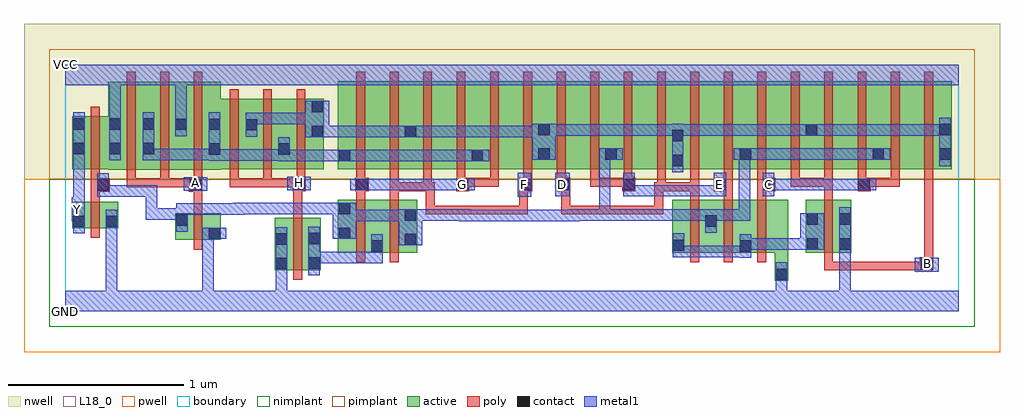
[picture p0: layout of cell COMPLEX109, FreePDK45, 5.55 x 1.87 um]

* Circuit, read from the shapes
.subckt COMPLEX109 A B C D E F G GND H VCC Y
M1 GND n1 Y VSUBS nfet w=0.15u l=0.05u
M2 GND A n1 VSUBS nfet w=0.15u l=0.05u
M3 n2 H GND VSUBS nfet w=0.3u l=0.05u
M4 n2 G n1 VSUBS nfet w=0.3u l=0.05u
M5 n1 F n2 VSUBS nfet w=0.3u l=0.05u
M6 n1 D n3 VSUBS nfet w=0.3u l=0.05u
M7 n3 E n1 VSUBS nfet w=0.3u l=0.05u
M8 GND C n3 VSUBS nfet w=0.3u l=0.05u
M9 GND B n3 VSUBS nfet w=0.3u l=0.05u
M10 VCC n1 Y n4 pfet w=0.3u l=0.05u
M11 n5 A VCC n4 pfet w=0.5u l=0.05u m=3
M12 n6 H n5 n4 pfet w=0.4u l=0.05u m=3
M13 n7 G n5 n4 pfet w=0.5u l=0.05u
M14 n6 F n7 n4 pfet w=0.5u l=0.05u
M15 n8 F n6 n4 pfet w=0.5u l=0.05u
M16 n5 G n8 n4 pfet w=0.5u l=0.05u
M17 n9 G n5 n4 pfet w=0.5u l=0.05u
M18 n6 F n9 n4 pfet w=0.5u l=0.05u
M19 n10 D n6 n4 pfet w=0.5u l=0.05u
M20 n1 E n10 n4 pfet w=0.5u l=0.05u
M21 n11 E n1 n4 pfet w=0.5u l=0.05u
M22 n6 D n11 n4 pfet w=0.5u l=0.05u
M23 n12 D n6 n4 pfet w=0.5u l=0.05u
M24 n1 E n12 n4 pfet w=0.5u l=0.05u
M25 n13 C n1 n4 pfet w=0.5u l=0.05u
M26 n6 B n13 n4 pfet w=0.5u l=0.05u
M27 n14 B n6 n4 pfet w=0.5u l=0.05u
M28 n1 C n14 n4 pfet w=0.5u l=0.05u
M29 n15 C n1 n4 pfet w=0.5u l=0.05u
M30 n6 B n15 n4 pfet w=0.5u l=0.05u
.ends

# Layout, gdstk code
import gdstk
lib = gdstk.Library(unit=1e-6, precision=1e-09)
def R(c, l, rs):  # rectangles x0, y0, x1, y1
    for r in rs: c.add(gdstk.rectangle(r[:2], r[2:], *l))
def A(c, l, x, y, w, h, nx, ny, dx, dy):  # array of equal rectangles
    R(c, l, [(x+i*dx, y+j*dy, x+i*dx+w, y+j*dy+h) for i in range(nx) for j in range(ny)])
active = (1, 0)
pwell = (2, 0)
nwell = (3, 0)
nimplant = (4, 0)
pimplant = (5, 0)
poly = (9, 0)
contact = (10, 0)
metal1 = (11, 0)
L18_0 = (18, 0)
boundary = (235, 0)

complex109 = lib.new_cell('COMPLEX109')
A(complex109, active, 1.775, 0.807, 0.225, 0.5, 5, 1, 0.38, 0)
A(complex109, active, 1.925, 0.807, 0.075, 0.393, 5, 1, 0.76, 0)
A(complex109, active, 1.925, 0.807, 0.23, 0.5, 5, 1, 0.38, 0)
A(complex109, active, 4.055, 0.807, 0.225, 0.5, 3, 1, 0.38, 0)
R(complex109, active, [(4.035,0.172,4.11,0.497), (1.192,0.232,1.267,0.532), (1.192,0.232,1.452,0.532), (1.377,0.232,1.452,0.45), (1.55,0.332,1.625,0.632), (1.55,0.332,1.81,0.632), (1.735,0.332,1.81,0.497), (1.735,0.332,2,0.632), (1.925,0.332,2,0.632), (3.45,0.332,3.525,0.632), (3.45,0.332,3.71,0.632), (3.635,0.332,3.905,0.632), (3.635,0.332,3.71,0.55), (3.83,0.332,4.11,0.632), (3.83,0.332,3.905,0.497), (4.21,0.332,4.285,0.632), (4.21,0.332,4.47,0.632), (4.395,0.332,4.47,0.632), (0.625,0.405,0.7,0.555), (0.625,0.405,0.885,0.555), (0.81,0.405,0.885,0.555), (0.04,0.472,0.115,0.622), (0.04,0.472,0.3,0.622), (0.225,0.472,0.3,0.622), (0.245,0.805,0.51,1.305), (0.435,0.805,0.695,1.305), (0.435,0.805,0.51,1.2), (0.62,0.805,0.885,1.305), (0.62,0.805,0.695,1.305), (0.04,0.807,0.115,1.107), (0.04,0.807,0.32,1.107), (0.245,0.807,0.32,1.305), (0.81,0.807,0.885,1.2), (0.81,0.807,1.095,1.207), (1.02,0.807,1.095,1.2), (1.02,0.807,1.28,1.207), (1.205,0.807,1.28,1.07), (1.205,0.807,1.47,1.207), (1.395,0.807,1.47,1.2), (1.55,0.807,1.775,1.307), (1.55,0.807,1.655,1.07), (2.305,0.807,2.38,1.07), (3.065,0.807,3.14,1.07), (3.675,0.807,3.905,1.307), (3.83,0.807,4.055,1.307), (3.83,0.807,3.905,1.07), (4.205,0.807,4.435,1.307), (4.585,0.807,4.815,1.307), (4.585,0.807,4.66,1.07)])
R(complex109, pwell, [(-0.235,-0.235,5.315,0.75)])
R(complex109, nwell, [(-0.235,0.75,5.315,1.635)])
R(complex109, nimplant, [(-0.09,-0.09,5.17,0.75)])
R(complex109, pimplant, [(-0.09,0.75,5.17,1.49)])
A(complex109, poly, 3.555, 0.277, 0.05, 0.41, 3, 1, 0.19, 0)
A(complex109, poly, 3.555, 0.637, 0.05, 0.095, 3, 1, 0.19, 0)
A(complex109, poly, 0.35, 0.705, 0.05, 0.095, 3, 1, 0.19, 0)
A(complex109, poly, 2.225, 0.707, 0.05, 0.095, 6, 1, 0.19, 0)
A(complex109, poly, 3.745, 0.707, 0.05, 0.095, 6, 1, 0.19, 0)
A(complex109, poly, 0.35, 0.75, 0.05, 0.61, 3, 1, 0.19, 0)
A(complex109, poly, 0.935, 0.752, 0.05, 0.51, 3, 1, 0.19, 0)
A(complex109, poly, 1.655, 0.752, 0.05, 0.61, 18, 1, 0.19, 0)
R(complex109, poly, [(1.297,0.177,1.347,0.587), (4.315,0.232,4.365,0.282), (4.315,0.232,4.365,0.327), (4.315,0.232,4.577,0.282), (4.527,0.232,4.577,0.282), (4.527,0.232,4.577,0.282), (4.527,0.232,4.577,0.282), (4.527,0.232,4.577,0.282), (4.527,0.232,4.577,0.282), (4.527,0.232,4.577,0.282), (4.527,0.232,4.577,0.282), (4.527,0.232,4.777,0.282), (4.727,0.232,4.777,0.282), (4.727,0.232,4.777,0.282), (4.727,0.232,4.777,0.282), (4.727,0.232,4.91,0.282), (4.86,0.232,4.91,0.282), (4.86,0.232,4.91,0.282), (4.86,0.232,4.91,0.282), (4.86,0.232,4.91,0.282), (4.86,0.232,4.91,0.282), (4.86,0.232,4.91,0.282), (4.86,0.232,4.935,0.307), (4.885,0.257,4.935,0.802), (1.655,0.277,1.705,0.687), (1.845,0.277,1.895,0.687), (4.315,0.277,4.365,0.687), (0.73,0.35,0.78,0.61), (0.145,0.417,0.195,0.677), (1.297,0.537,1.347,0.732), (2.05,0.55,2.1,0.6), (2.05,0.55,2.1,0.6), (2.05,0.55,2.1,0.6), (2.05,0.55,2.1,0.732), (2.05,0.55,2.232,0.6), (2.182,0.55,2.232,0.6), (2.182,0.55,2.497,0.6), (2.447,0.55,2.497,0.6), (2.447,0.55,2.497,0.6), (2.447,0.55,2.497,0.6), (2.447,0.55,2.63,0.6), (2.58,0.55,2.63,0.6), (2.58,0.55,2.63,0.6), (2.58,0.55,2.63,0.6), (2.58,0.55,2.63,0.732), (2.82,0.55,2.87,0.6), (2.82,0.55,2.87,0.6), (2.82,0.55,2.87,0.6), (2.82,0.55,2.87,0.6), (2.82,0.55,2.87,0.6), (2.82,0.55,2.87,0.732), (2.82,0.55,3.002,0.6), (2.952,0.55,3.002,0.6), (2.952,0.55,3.002,0.6), (2.952,0.55,3.002,0.6), (2.952,0.55,3.167,0.6), (3.117,0.55,3.167,0.6), (3.117,0.55,3.167,0.6), (3.117,0.55,3.167,0.6), (3.117,0.55,3.4,0.6), (3.35,0.55,3.4,0.6), (3.35,0.55,3.4,0.732), (0.73,0.56,0.78,0.73), (0.145,0.627,0.195,0.73), (1.655,0.637,1.705,0.732), (1.845,0.637,1.895,0.732), (4.315,0.637,4.365,0.757), (0.145,0.68,0.252,0.755), (0.702,0.68,0.78,0.755), (1.292,0.682,1.367,0.757), (1.65,0.682,1.725,0.757), (1.845,0.682,1.895,0.732), (1.845,0.682,1.895,0.732), (1.845,0.682,1.895,0.732), (1.845,0.682,1.895,0.802), (1.845,0.682,2.085,0.732), (2.035,0.682,2.085,0.802), (2.035,0.682,2.1,0.732), (2.05,0.682,2.1,0.732), (2.05,0.682,2.1,0.732), (2.222,0.682,2.297,0.757), (2.58,0.682,2.63,0.732), (2.58,0.682,2.63,0.732), (2.58,0.682,2.655,0.757), (2.795,0.682,2.87,0.757), (3.167,0.682,3.242,0.757), (3.35,0.682,3.4,0.732), (3.35,0.682,3.4,0.732), (3.35,0.682,3.415,0.732), (3.365,0.682,3.415,0.802), (3.365,0.682,3.605,0.732), (3.555,0.682,3.605,0.732), (3.555,0.682,3.605,0.732), (3.555,0.682,3.605,0.732), (3.555,0.682,3.605,0.802), (3.687,0.682,3.795,0.757), (3.935,0.682,4.037,0.757), (4.505,0.682,4.58,0.757), (0.145,0.705,0.195,0.802), (0.35,0.705,0.4,0.755), (0.35,0.705,0.4,0.755), (0.35,0.705,0.4,0.755), (0.35,0.705,0.59,0.755), (0.54,0.705,0.59,0.755), (0.54,0.705,0.59,0.755), (0.54,0.705,0.59,0.755), (0.54,0.705,0.752,0.755), (0.935,0.705,0.985,0.755), (0.935,0.705,0.985,0.755), (0.935,0.705,0.985,0.755), (0.935,0.705,1.175,0.755), (0.935,0.705,0.985,0.802), (1.125,0.705,1.175,0.755), (1.125,0.705,1.175,0.755), (1.125,0.705,1.175,0.755), (1.125,0.705,1.342,0.755), (1.125,0.705,1.175,0.802), (1.315,0.707,1.365,0.802), (1.655,0.707,1.705,0.802), (2.247,0.707,2.465,0.757), (2.415,0.707,2.465,0.757), (2.415,0.707,2.465,0.757), (2.415,0.707,2.465,0.757), (2.985,0.707,3.035,0.757), (2.985,0.707,3.035,0.757), (2.985,0.707,3.035,0.757), (2.985,0.707,3.217,0.757), (4.125,0.707,4.175,0.757), (4.125,0.707,4.365,0.757), (4.315,0.707,4.365,0.757), (4.315,0.707,4.365,0.757), (4.315,0.707,4.365,0.757), (4.53,0.707,4.745,0.757), (4.695,0.707,4.745,0.757), (4.695,0.707,4.745,0.757), (4.695,0.707,4.745,0.757), (0.145,0.752,0.195,1.162)])
R(complex109, contact, [(4.04,0.177,4.105,0.242), (1.197,0.237,1.262,0.302), (4.865,0.237,4.93,0.302), (1.382,0.24,1.447,0.305), (1.74,0.337,1.805,0.402), (3.835,0.337,3.9,0.402), (3.455,0.342,3.52,0.407), (4.215,0.35,4.28,0.415), (4.4,0.35,4.465,0.415), (1.93,0.375,1.995,0.44), (1.197,0.377,1.262,0.442), (1.382,0.38,1.447,0.445), (0.815,0.41,0.88,0.475), (1.555,0.41,1.62,0.475), (0.045,0.477,0.11,0.542), (0.23,0.477,0.295,0.542), (3.64,0.48,3.705,0.545), (0.63,0.485,0.695,0.55), (4.215,0.49,4.28,0.555), (4.4,0.49,4.465,0.555), (1.93,0.515,1.995,0.58), (1.555,0.55,1.62,0.615), (0.182,0.685,0.247,0.75), (0.707,0.685,0.772,0.75), (1.297,0.687,1.362,0.752), (1.655,0.687,1.72,0.752), (2.227,0.687,2.292,0.752), (2.585,0.687,2.65,0.752), (2.8,0.687,2.865,0.752), (3.172,0.687,3.237,0.752), (3.692,0.687,3.757,0.752), (3.967,0.687,4.032,0.752), (4.51,0.687,4.575,0.752), (3.45,0.825,3.515,0.89), (1.555,0.852,1.62,0.917), (2.31,0.852,2.375,0.917), (2.69,0.86,2.755,0.925), (3.07,0.86,3.135,0.925), (3.835,0.86,3.9,0.925), (4.59,0.86,4.655,0.925), (4.97,0.86,5.035,0.925), (0.815,0.89,0.88,0.955), (1.21,0.89,1.275,0.955), (0.045,0.892,0.11,0.957), (0.25,0.892,0.315,0.957), (0.44,0.892,0.505,0.957), (3.45,0.965,3.515,1.03), (1.4,0.99,1.465,1.055), (1.93,0.99,1.995,1.055), (4.21,0.997,4.275,1.062), (2.69,1,2.755,1.065), (4.97,1,5.035,1.065), (1.025,1.027,1.09,1.092), (0.625,1.03,0.69,1.095), (0.815,1.03,0.88,1.095), (0.045,1.032,0.11,1.097), (0.25,1.032,0.315,1.097), (0.44,1.032,0.505,1.097), (1.4,1.13,1.465,1.195)])
A(complex109, metal1, 3.662, 0.307, 0.065, 0.065, 1, 3, 0, 0.345)
R(complex109, metal1, [(0,0,5.08,0.115), (0.23,0.05,0.295,0.507), (0.78,0.05,0.845,0.115), (0.78,0.05,0.845,0.115), (0.78,0.05,0.845,0.115), (0.78,0.05,0.845,0.115), (0.78,0.05,0.845,0.475), (1.197,0.05,1.262,0.115), (1.197,0.05,1.262,0.115), (1.197,0.05,1.262,0.115), (1.197,0.05,1.262,0.267), (4.04,0.05,4.105,0.115), (4.04,0.05,4.105,0.115), (4.04,0.05,4.105,0.115), (4.04,0.05,4.105,0.115), (4.04,0.05,4.105,0.207), (4.4,0.05,4.465,0.115), (4.4,0.05,4.465,0.115), (4.4,0.05,4.465,0.38), (4.04,0.142,4.105,0.277), (1.197,0.202,1.262,0.267), (1.197,0.202,1.262,0.477), (1.382,0.205,1.447,0.48), (4.83,0.225,4.967,0.302), (1.382,0.272,1.447,0.337), (1.382,0.272,1.447,0.337), (1.382,0.272,1.755,0.337), (1.69,0.272,1.755,0.337), (1.69,0.272,1.805,0.337), (1.74,0.272,1.805,0.437), (3.835,0.302,3.9,0.437), (3.455,0.307,3.52,0.372), (3.455,0.307,3.52,0.372), (3.455,0.307,3.52,0.442), (3.455,0.307,3.727,0.372), (3.662,0.307,3.727,0.372), (3.662,0.307,3.727,0.372), (3.662,0.307,3.9,0.372), (4.4,0.315,4.465,0.38), (4.4,0.315,4.465,0.38), (4.4,0.315,4.465,0.59), (3.835,0.35,3.967,0.415), (3.902,0.35,3.967,0.415), (3.902,0.35,4.072,0.415), (4.007,0.35,4.072,0.415), (4.007,0.35,4.245,0.415), (4.18,0.35,4.245,0.415), (4.18,0.35,4.245,0.415), (4.18,0.35,4.315,0.555), (1.895,0.375,2.03,0.58), (0.78,0.41,0.845,0.475), (0.78,0.41,0.845,0.475), (0.78,0.41,0.915,0.475), (1.52,0.41,1.655,0.615), (0.045,0.442,0.11,0.577), (0.23,0.442,0.295,0.507), (0.23,0.442,0.295,0.507), (0.23,0.442,0.295,0.507), (0.23,0.442,0.295,0.507), (0.23,0.442,0.295,0.507), (0.23,0.442,0.295,0.507), (0.23,0.442,0.295,0.577), (3.64,0.445,3.705,0.58), (0.63,0.45,0.695,0.585), (1.59,0.51,1.755,0.575), (1.69,0.51,1.755,0.575), (1.69,0.51,1.815,0.575), (1.75,0.51,1.815,0.575), (1.75,0.51,1.892,0.575), (1.827,0.51,1.892,0.575), (1.827,0.51,1.96,0.575), (0.037,0.512,0.11,0.647), (0.045,0.512,0.11,0.577), (2.24,0.512,2.582,0.577), (2.24,0.512,2.305,0.58), (2.517,0.512,2.582,0.577), (2.517,0.512,2.582,0.577), (2.517,0.512,2.582,0.577), (2.517,0.512,2.752,0.577), (2.687,0.512,2.752,0.577), (2.687,0.512,2.752,0.577), (2.687,0.512,2.752,0.577), (2.687,0.512,2.927,0.577), (2.862,0.512,2.927,0.58), (1.965,0.515,2.03,0.58), (1.965,0.515,2.03,0.58), (1.965,0.515,2.167,0.58), (2.102,0.515,2.167,0.58), (2.102,0.515,2.167,0.58), (2.102,0.515,2.167,0.58), (2.102,0.515,2.305,0.58), (2.24,0.515,2.305,0.58), (2.24,0.515,2.305,0.58), (2.862,0.515,2.927,0.58), (2.862,0.515,2.927,0.58), (2.862,0.515,3.1,0.58), (3.035,0.515,3.1,0.58), (3.035,0.515,3.1,0.58), (3.035,0.515,3.1,0.58), (3.035,0.515,3.1,0.58), (3.035,0.515,3.1,0.58), (3.035,0.515,3.1,0.925), (3.035,0.515,3.377,0.58), (3.312,0.515,3.377,0.58), (3.312,0.515,3.377,0.58), (3.312,0.515,3.377,0.58), (3.312,0.515,3.515,0.58), (3.45,0.515,3.515,0.58), (3.45,0.515,3.515,0.58), (3.45,0.515,3.515,0.58), (3.45,0.515,3.705,0.58), (3.64,0.515,3.705,0.58), (3.64,0.515,3.705,0.58), (3.64,0.515,3.895,0.58), (3.83,0.515,3.895,0.58), (3.83,0.515,3.895,0.58), (3.83,0.515,3.895,0.58), (3.83,0.515,3.895,0.925), (0.457,0.52,0.522,0.585), (0.457,0.52,0.522,0.585), (0.457,0.52,0.522,0.585), (0.457,0.52,0.695,0.585), (0.457,0.52,0.522,0.715), (0.63,0.52,0.695,0.585), (0.63,0.52,0.695,0.612), (0.63,0.547,0.832,0.612), (0.767,0.547,0.832,0.612), (0.767,0.547,0.832,0.612), (0.767,0.547,0.832,0.612), (0.767,0.547,1.017,0.612), (0.952,0.547,1.017,0.612), (0.952,0.547,1.017,0.612), (0.952,0.547,1.017,0.615), (0.952,0.55,1.227,0.615), (1.162,0.55,1.227,0.615), (1.162,0.55,1.227,0.615), (1.162,0.55,1.227,0.615), (1.162,0.55,1.497,0.615), (1.432,0.55,1.497,0.615), (1.432,0.55,1.585,0.615), (0.045,0.582,0.11,0.922), (0.182,0.65,0.247,0.715), (0.182,0.65,0.247,0.715), (0.182,0.65,0.385,0.715), (0.182,0.65,0.247,0.785), (0.32,0.65,0.385,0.715), (0.32,0.65,0.522,0.715), (0.457,0.65,0.522,0.715), (2.572,0.65,2.65,0.787), (2.787,0.652,2.867,0.787), (3.172,0.652,3.237,0.717), (3.172,0.652,3.237,0.717), (3.172,0.652,3.237,0.787), (3.172,0.652,3.377,0.717), (3.312,0.652,3.377,0.717), (3.312,0.652,3.567,0.717), (3.502,0.652,3.567,0.717), (3.502,0.652,3.567,0.717), (3.502,0.652,3.567,0.717), (3.502,0.652,3.727,0.717), (3.662,0.652,3.752,0.717), (3.687,0.652,3.757,0.787), (3.967,0.652,4.032,0.787), (0.672,0.685,0.807,0.762), (1.262,0.687,1.397,0.765), (1.62,0.687,1.755,0.752), (1.69,0.687,1.822,0.752), (1.757,0.687,1.822,0.752), (1.757,0.687,1.892,0.752), (1.827,0.687,1.892,0.752), (1.827,0.687,2.03,0.752), (1.965,0.687,2.03,0.752), (1.965,0.687,2.03,0.752), (1.965,0.687,2.03,0.752), (1.965,0.687,2.167,0.752), (2.102,0.687,2.167,0.752), (2.102,0.687,2.257,0.752), (2.192,0.687,2.327,0.752), (3.967,0.687,4.072,0.752), (4.007,0.687,4.072,0.752), (4.007,0.687,4.265,0.752), (4.2,0.687,4.265,0.752), (4.2,0.687,4.265,0.752), (4.2,0.687,4.265,0.752), (4.2,0.687,4.402,0.752), (4.337,0.687,4.402,0.752), (4.337,0.687,4.447,0.752), (4.382,0.687,4.447,0.752), (4.382,0.687,4.54,0.752), (4.475,0.687,4.61,0.752), (3.45,0.79,3.515,1.065), (4.97,0.825,5.035,1.1), (1.21,0.852,1.275,0.92), (1.21,0.852,1.43,0.917), (1.365,0.852,1.43,0.917), (1.365,0.852,1.585,0.917), (1.52,0.852,1.655,0.917), (1.59,0.852,1.655,0.917), (1.59,0.852,1.655,0.917), (1.59,0.852,1.815,0.917), (1.75,0.852,1.815,0.917), (1.75,0.852,1.892,0.917), (1.827,0.852,1.892,0.917), (1.827,0.852,2.03,0.917), (1.965,0.852,2.03,0.917), (1.965,0.852,2.03,0.917), (1.965,0.852,2.03,0.917), (1.965,0.852,2.167,0.917), (2.102,0.852,2.167,0.917), (2.102,0.852,2.167,0.917), (2.102,0.852,2.167,0.917), (2.102,0.852,2.34,0.917), (2.275,0.852,2.41,0.917), (0.815,0.855,0.88,0.92), (0.815,0.855,0.88,0.92), (0.815,0.855,0.88,1.13), (0.815,0.855,1.09,0.92), (1.025,0.855,1.09,0.92), (1.025,0.855,1.09,0.92), (1.025,0.855,1.09,0.92), (1.025,0.855,1.275,0.92), (1.21,0.855,1.275,0.92), (1.21,0.855,1.275,0.99), (0.045,0.857,0.11,1.132), (0.25,0.857,0.315,1.132), (0.44,0.857,0.505,1.132), (0.44,0.857,0.522,0.922), (0.457,0.857,0.522,0.922), (0.457,0.857,0.695,0.922), (0.63,0.857,0.695,0.922), (0.63,0.857,0.695,0.922), (0.63,0.857,0.695,0.922), (0.63,0.857,0.88,0.922), (2.655,0.86,2.79,1.065), (3.035,0.86,3.17,0.925), (3.8,0.86,3.935,0.925), (3.87,0.86,4.102,0.925), (4.037,0.86,4.102,0.925), (4.037,0.86,4.102,0.925), (4.037,0.86,4.102,0.925), (4.037,0.86,4.265,0.925), (4.2,0.86,4.265,0.925), (4.2,0.86,4.265,0.925), (4.2,0.86,4.265,0.925), (4.2,0.86,4.402,0.925), (4.337,0.86,4.402,0.925), (4.337,0.86,4.482,0.925), (4.417,0.86,4.482,0.925), (4.417,0.86,4.62,0.925), (4.555,0.86,4.62,0.925), (4.555,0.86,4.62,0.925), (4.555,0.86,4.69,0.925), (1.365,0.99,1.5,1.195), (1.435,0.99,1.5,1.055), (1.435,0.99,1.5,1.055), (1.435,0.99,1.637,1.055), (1.572,0.99,1.637,1.055), (1.572,0.99,1.815,1.055), (1.75,0.99,1.815,1.055), (1.75,0.99,1.892,1.055), (1.827,0.99,1.892,1.055), (1.827,0.99,1.96,1.055), (1.895,0.99,2.03,1.055), (1.965,0.99,2.03,1.055), (1.965,0.99,2.03,1.055), (1.965,0.99,2.167,1.055), (2.102,0.99,2.167,1.055), (2.102,0.99,2.167,1.055), (2.102,0.99,2.167,1.055), (2.102,0.99,2.445,1.055), (2.38,0.99,2.445,1.055), (2.38,0.99,2.445,1.055), (2.38,0.99,2.445,1.055), (2.38,0.99,2.582,1.055), (2.517,0.99,2.582,1.055), (2.517,0.99,2.582,1.055), (2.517,0.99,2.582,1.055), (2.517,0.99,2.72,1.055), (1.025,0.992,1.09,1.127), (0.625,0.995,0.69,1.13), (2.725,0.997,2.79,1.062), (2.725,0.997,2.79,1.062), (2.725,0.997,2.962,1.062), (2.897,0.997,2.962,1.062), (2.897,0.997,2.962,1.062), (2.897,0.997,2.962,1.062), (2.897,0.997,3.1,1.062), (3.035,0.997,3.1,1.062), (3.035,0.997,3.1,1.062), (3.035,0.997,3.1,1.062), (3.035,0.997,3.375,1.062), (3.31,0.997,3.375,1.062), (3.31,0.997,3.375,1.062), (3.31,0.997,3.375,1.062), (3.31,0.997,3.515,1.062), (3.45,0.997,3.515,1.062), (3.45,0.997,3.515,1.062), (3.45,0.997,3.727,1.062), (3.662,0.997,3.727,1.062), (3.662,0.997,3.727,1.062), (3.662,0.997,3.895,1.062), (3.83,0.997,3.895,1.062), (3.83,0.997,4.102,1.062), (4.037,0.997,4.102,1.062), (4.037,0.997,4.102,1.062), (4.037,0.997,4.102,1.062), (4.037,0.997,4.24,1.062), (4.175,0.997,4.24,1.062), (4.175,0.997,4.24,1.062), (4.175,0.997,4.31,1.062), (4.245,0.997,4.402,1.062), (4.337,0.997,4.402,1.062), (4.337,0.997,4.447,1.062), (4.382,0.997,4.447,1.062), (4.382,0.997,4.62,1.062), (4.555,0.997,4.62,1.062), (4.555,0.997,4.62,1.062), (4.555,0.997,4.62,1.062), (4.555,0.997,4.757,1.062), (4.692,0.997,4.757,1.062), (4.692,0.997,4.757,1.062), (4.692,0.997,4.757,1.062), (4.692,0.997,5.035,1.062), (4.97,0.997,5.035,1.062), (4.97,0.997,5.035,1.062), (1.025,1.062,1.09,1.127), (1.025,1.062,1.09,1.127), (1.025,1.062,1.227,1.127), (1.162,1.062,1.227,1.127), (1.162,1.062,1.227,1.127), (1.162,1.062,1.227,1.127), (1.162,1.062,1.43,1.127), (0.625,1.065,0.69,1.35), (0.25,1.067,0.315,1.35), (0,1.285,5.08,1.4)])
R(complex109, L18_0, [(0,0,5.08,0.115), (0.23,0.05,0.295,0.507), (0.78,0.05,0.845,0.115), (0.78,0.05,0.845,0.115), (0.78,0.05,0.845,0.115), (0.78,0.05,0.845,0.115), (0.78,0.05,0.845,0.475), (1.197,0.05,1.262,0.115), (1.197,0.05,1.262,0.115), (1.197,0.05,1.262,0.115), (1.197,0.05,1.262,0.267), (4.04,0.05,4.105,0.115), (4.04,0.05,4.105,0.115), (4.04,0.05,4.105,0.115), (4.04,0.05,4.105,0.115), (4.04,0.05,4.105,0.207), (4.4,0.05,4.465,0.115), (4.4,0.05,4.465,0.115), (4.4,0.05,4.465,0.38), (4.04,0.142,4.105,0.277), (1.197,0.202,1.262,0.267), (1.197,0.202,1.262,0.477), (4.83,0.225,4.967,0.302), (4.867,0.237,4.932,0.302), (4.4,0.315,4.465,0.38), (4.4,0.315,4.465,0.38), (4.4,0.315,4.465,0.59), (0.78,0.41,0.845,0.475), (0.78,0.41,0.845,0.475), (0.78,0.41,0.915,0.475), (0.045,0.442,0.11,0.577), (0.23,0.442,0.295,0.577), (0.23,0.442,0.295,0.507), (0.23,0.442,0.295,0.507), (0.23,0.442,0.295,0.507), (0.23,0.442,0.295,0.507), (0.23,0.442,0.295,0.507), (0.23,0.442,0.295,0.507), (0.037,0.512,0.11,0.647), (0.045,0.512,0.11,0.577), (0.037,0.547,0.102,0.612), (0.045,0.582,0.11,0.922), (2.572,0.65,2.65,0.787), (2.787,0.652,2.867,0.787), (3.172,0.652,3.237,0.787), (3.172,0.652,3.237,0.717), (3.172,0.652,3.237,0.717), (3.172,0.652,3.377,0.717), (3.312,0.652,3.377,0.717), (3.312,0.652,3.567,0.717), (3.502,0.652,3.567,0.717), (3.502,0.652,3.567,0.717), (3.502,0.652,3.567,0.717), (3.502,0.652,3.727,0.717), (3.662,0.652,3.727,0.717), (3.662,0.652,3.752,0.717), (3.687,0.652,3.757,0.787), (3.967,0.652,4.032,0.787), (0.672,0.685,0.807,0.762), (1.262,0.687,1.397,0.765), (1.62,0.687,1.755,0.752), (1.69,0.687,1.822,0.752), (1.757,0.687,1.822,0.752), (1.757,0.687,1.892,0.752), (1.827,0.687,1.892,0.752), (1.827,0.687,2.03,0.752), (1.965,0.687,2.03,0.752), (1.965,0.687,2.03,0.752), (1.965,0.687,2.03,0.752), (1.965,0.687,2.167,0.752), (2.102,0.687,2.167,0.752), (2.102,0.687,2.257,0.752), (2.192,0.687,2.327,0.752), (2.227,0.687,2.292,0.752), (2.577,0.687,2.642,0.752), (2.797,0.687,2.862,0.752), (3.687,0.687,3.752,0.752), (3.967,0.687,4.032,0.752), (3.967,0.687,4.072,0.752), (4.007,0.687,4.072,0.752), (4.007,0.687,4.265,0.752), (4.2,0.687,4.265,0.752), (4.2,0.687,4.265,0.752), (4.2,0.687,4.265,0.752), (4.2,0.687,4.402,0.752), (4.337,0.687,4.402,0.752), (4.337,0.687,4.447,0.752), (4.382,0.687,4.447,0.752), (4.382,0.687,4.54,0.752), (4.475,0.687,4.61,0.752), (0.707,0.697,0.772,0.762), (1.297,0.697,1.362,0.762), (0.045,0.857,0.11,1.132), (0.25,0.857,0.315,1.132), (0.625,0.995,0.69,1.13), (0.625,1.065,0.69,1.35), (0.25,1.067,0.315,1.35), (0,1.285,5.08,1.4)])
R(complex109, boundary, [(0,0,5.08,1.4)])
complex109.add(gdstk.Label('A', (0.74,0.73), layer=11, texttype=0))
complex109.add(gdstk.Label('B', (4.9,0.27), layer=11, texttype=0))
complex109.add(gdstk.Label('C', (4,0.72), layer=11, texttype=0))
complex109.add(gdstk.Label('D', (2.83,0.72), layer=11, texttype=0))
complex109.add(gdstk.Label('E', (3.72,0.72), layer=11, texttype=0))
complex109.add(gdstk.Label('F', (2.61,0.72), layer=11, texttype=0))
complex109.add(gdstk.Label('G', (2.26,0.72), layer=11, texttype=0))
complex109.add(gdstk.Label('H', (1.33,0.73), layer=11, texttype=0))
complex109.add(gdstk.Label('Y', (0.07,0.58), layer=11, texttype=0))
complex109.add(gdstk.Label('VCC', (0,1.4), layer=11, texttype=0))
complex109.add(gdstk.Label('GND', (0,0), layer=11, texttype=0))

lib.write_gds('COMPLEX109.gds')
